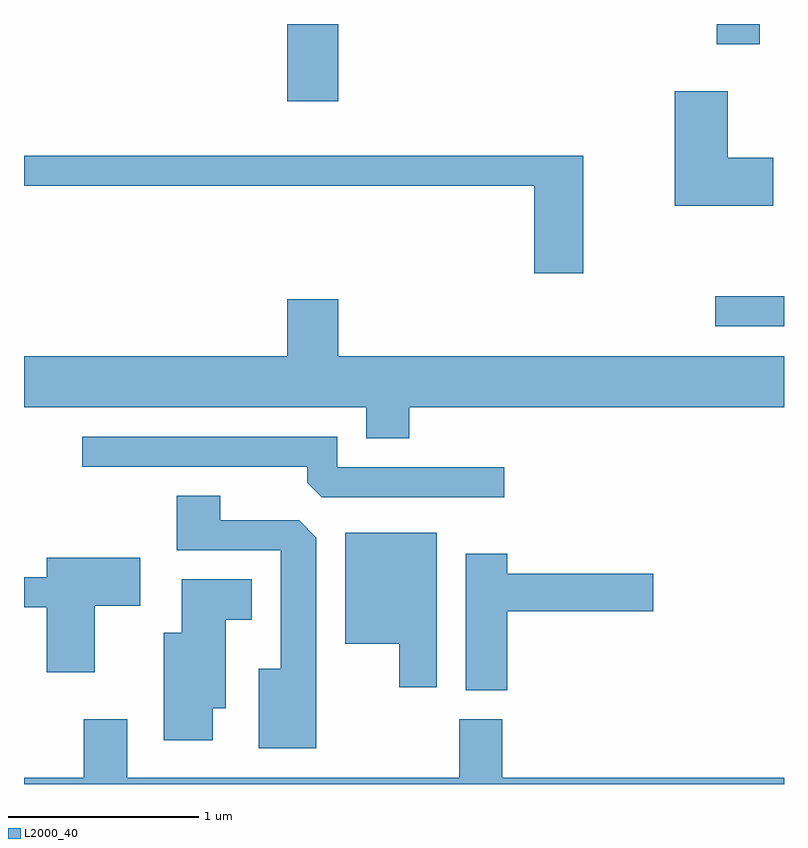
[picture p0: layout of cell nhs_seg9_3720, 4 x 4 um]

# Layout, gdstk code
import gdstk
lib = gdstk.Library(unit=1e-6, precision=1e-09)
def R(c, l, rs):  # rectangles x0, y0, x1, y1
    for r in rs: c.add(gdstk.rectangle(r[:2], r[2:], *l))
def P(c, l, *ps):  # polygons
    for p in ps: c.add(gdstk.Polygon(p, *l))
L2000_40 = (2000, 40)

nhs_seg9_3720 = lib.new_cell('nhs_seg9_3720')
R(nhs_seg9_3720, L2000_40, [(297.248,2058.841,297.611,2058.999), (294.996,2060.026,295.264,2060.432), (297.256,2060.326,297.484,2060.432)])
P(nhs_seg9_3720, L2000_40, [(297.554,2059.729),(297.314,2059.729),(297.314,2060.079),(297.036,2060.079),(297.036,2059.476),(297.554,2059.476)],
  [(296.554,2059.739),(293.611,2059.739),(293.611,2059.581),(296.296,2059.581),(296.296,2059.121),(296.554,2059.121)],
  [(295.639,2058.416),(297.611,2058.416),(297.611,2058.684),(295.264,2058.684),(295.264,2058.984),(294.996,2058.984),(294.996,2058.684),(293.611,2058.684),(293.611,2058.416),(295.411,2058.416),(295.411,2058.251),(295.639,2058.251)],
  [(296.138,2058.099),(295.259,2058.099),(295.259,2058.259),(293.918,2058.259),(293.918,2058.101),(295.101,2058.101),(295.101,2058.017),(295.177,2057.941),(296.138,2057.941)],
  [(295.149,2057.729),(295.059,2057.819),(294.644,2057.819),(294.644,2057.949),(294.416,2057.949),(294.416,2057.661),(294.961,2057.661),(294.961,2057.039),(294.846,2057.039),(294.846,2056.621),(295.149,2056.621)],
  [(295.784,2057.754),(295.301,2057.754),(295.301,2057.171),(295.586,2057.171),(295.586,2056.941),(295.784,2056.941)],
  [(296.154,2057.341),(296.924,2057.341),(296.924,2057.539),(296.154,2057.539),(296.154,2057.644),(295.936,2057.644),(295.936,2056.926),(296.154,2056.926)],
  [(293.984,2057.371),(294.224,2057.371),(294.224,2057.624),(293.731,2057.624),(293.731,2057.519),(293.611,2057.519),(293.611,2057.361),(293.731,2057.361),(293.731,2057.021),(293.984,2057.021)],
  [(294.604,2056.831),(294.674,2056.831),(294.674,2057.296),(294.809,2057.296),(294.809,2057.509),(294.441,2057.509),(294.441,2057.229),(294.346,2057.229),(294.346,2056.661),(294.604,2056.661)],
  [(297.611,2056.464),(296.129,2056.464),(296.129,2056.774),(295.901,2056.774),(295.901,2056.464),(294.154,2056.464),(294.154,2056.774),(293.926,2056.774),(293.926,2056.464),(293.611,2056.464),(293.611,2056.432),(297.611,2056.432)])

lib.write_gds('nhs_seg9_3720.gds')
